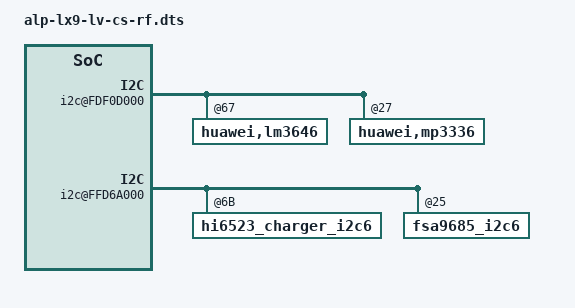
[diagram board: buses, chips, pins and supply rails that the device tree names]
/dts-v1/;

/include/ "../variants/alp-lx9.dtsi"

/ {
	hisi,boardid = <0x06 0x04 0x02 0x03>;
	hisi,boardname = "ALPS_LX9_LV_CS_RF";
	hisi,modem_id = "9", "P";
	hisi,product_id = "9", "P";

	huawei,lcd_panel {
		product_id = <0x3ea>;
	};

	amba {
		i2c@FDF0D000 {
			huawei,lm3646@67 {
				huawei,led-type = <0x00>;
				huawei,flash-current = <0x00 0x0f 0x00>;
			};

			huawei,mp3336@27 {
				huawei,led-type = <0x00>;
				huawei,flash-current = <0x00 0x12 0x00>;
			};
		};

		i2c@FFD6A000 {
			hi6523_charger_i2c6@6B {
				fcp_support = <0x00>;
				scp_support = <0x00>;
				scp_need_extra_power = <0x00>;
			};

			fsa9685_i2c6@25 {
				status = "ok";
			};
		};
	};

	hisi_usb@ff200000 {
		set_hi_impedance = <0x01>;
	};

	sensorhub {
		light {
			als1 {
				als_phone_version = <0x0c>;
			};

			als2 {
				als_phone_version = <0x0c>;
			};
		};

		gsensor {
			acc1 {
				negate_z = <0x01>;
			};

			acc2 {
				negate_x = <0x00>;
				negate_y = <0x01>;
				negate_z = <0x01>;
			};
		};

		gyroscope {
			gyro1 {
				axis_map_x = <0x00>;
				axis_map_y = <0x01>;
				negate_z = <0x01>;
				position = <0x05>;
			};

			gyro2 {
				position = <0x05>;
				axis_map_x = <0x00>;
				axis_map_y = <0x01>;
				axis_map_z = <0x02>;
				negate_x = <0x00>;
				negate_y = <0x01>;
				negate_z = <0x01>;
			};
		};
	};

	direct_charger {
		scp_work_on_charger = <0x00>;
	};

	devcheck {
		usb_switch = <0x01>;
	};
};
